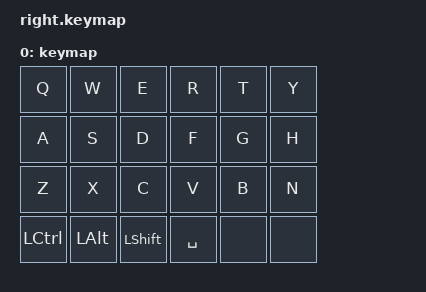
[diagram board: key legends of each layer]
/ {
    keymap {
        compatible = "zmk,keymap";
        keymap {
            bindings = <
                &kp Q   &kp W   &kp E   &kp R   &kp T   &kp Y
                &kp A   &kp S   &kp D   &kp F   &kp G   &kp H
                &kp Z   &kp X   &kp C   &kp V   &kp B   &kp N
                &kp LCTL &kp LALT &kp LSHFT &kp SPACE &none &none
            >;
        };
    };
};
